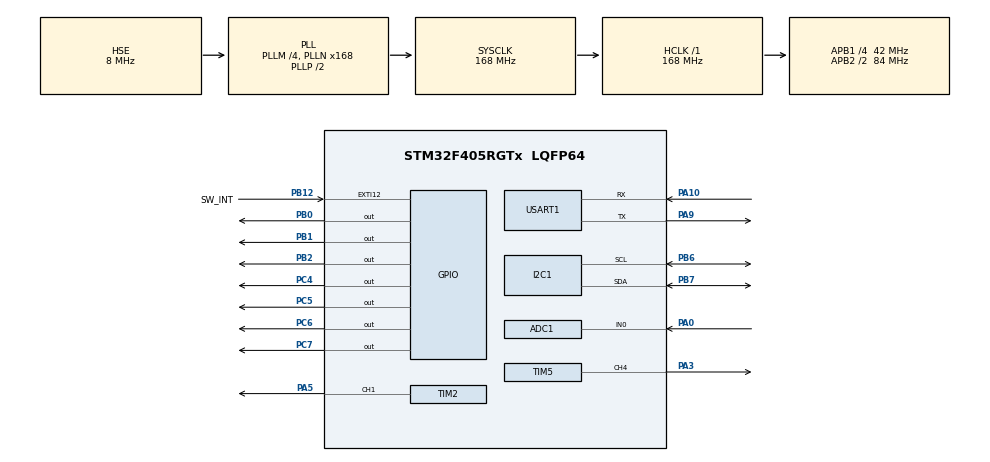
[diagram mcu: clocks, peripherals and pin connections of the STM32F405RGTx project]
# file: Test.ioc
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ADC1.Channel-0\#ChannelRegularConversion=ADC_CHANNEL_0
ADC1.ContinuousConvMode=ENABLE
ADC1.DMAContinuousRequests=ENABLE
ADC1.NbrOfConversionFlag=1
ADC1.Rank-0\#ChannelRegularConversion=1
ADC1.SamplingTime-0\#ChannelRegularConversion=ADC_SAMPLETIME_28CYCLES
ADC1.master=1
Dma.ADC1.0.Direction=DMA_PERIPH_TO_MEMORY
Dma.ADC1.0.FIFOMode=DMA_FIFOMODE_DISABLE
Dma.ADC1.0.Instance=DMA2_Stream0
Dma.ADC1.0.MemDataAlignment=DMA_MDATAALIGN_HALFWORD
Dma.ADC1.0.MemInc=DMA_MINC_ENABLE
Dma.ADC1.0.Mode=DMA_CIRCULAR
Dma.ADC1.0.PeriphDataAlignment=DMA_PDATAALIGN_HALFWORD
Dma.ADC1.0.PeriphInc=DMA_PINC_DISABLE
Dma.ADC1.0.Priority=DMA_PRIORITY_LOW
Dma.Request0=ADC1
Dma.Request1=USART1_TX
Dma.USART1_TX.1.Direction=DMA_MEMORY_TO_PERIPH
Dma.USART1_TX.1.FIFOMode=DMA_FIFOMODE_DISABLE
Dma.USART1_TX.1.Instance=DMA2_Stream7
Dma.USART1_TX.1.MemDataAlignment=DMA_MDATAALIGN_BYTE
Dma.USART1_TX.1.MemInc=DMA_MINC_ENABLE
Dma.USART1_TX.1.Mode=DMA_NORMAL
Dma.USART1_TX.1.PeriphDataAlignment=DMA_PDATAALIGN_BYTE
Dma.USART1_TX.1.PeriphInc=DMA_PINC_DISABLE
Dma.USART1_TX.1.Priority=DMA_PRIORITY_LOW
I2C1.I2C_Mode=I2C_Fast
Mcu.Family=STM32F4
Mcu.Name=STM32F405RGTx
Mcu.Package=LQFP64
NVIC.DMA2_Stream0_IRQn=true\:0\:0\:false\:false\:true\:false\:true
NVIC.DMA2_Stream7_IRQn=true\:0\:0\:false\:false\:true\:false\:true
NVIC.EXTI15_10_IRQn=true\:0\:0\:false\:false\:true\:true\:true
NVIC.PriorityGroup=NVIC_PRIORITYGROUP_4
PA0-WKUP.Signal=ADCx_IN0
PA10.Mode=Asynchronous
PA10.Signal=USART1_RX
PA13.Mode=Serial_Wire
PA13.Signal=SYS_JTMS-SWDIO
PA14.Mode=Serial_Wire
PA14.Signal=SYS_JTCK-SWCLK
PA3.Signal=S_TIM5_CH4
PA5.Signal=S_TIM2_CH1_ETR
PA9.Mode=Asynchronous
PA9.Signal=USART1_TX
PB0.Signal=GPIO_Output
PB1.Signal=GPIO_Output
PB12.GPIO_Label=SW_INT
PB12.Signal=GPXTI12
PB2.Signal=GPIO_Output
PB6.Mode=I2C
PB6.Signal=I2C1_SCL
PB7.Mode=I2C
PB7.Signal=I2C1_SDA
PC4.Signal=GPIO_Output
PC5.Signal=GPIO_Output
PC6.Signal=GPIO_Output
PC7.Signal=GPIO_Output
PH0-OSC_IN.Mode=HSE-External-Oscillator
PH0-OSC_IN.Signal=RCC_OSC_IN
PH1-OSC_OUT.Mode=HSE-External-Oscillator
PH1-OSC_OUT.Signal=RCC_OSC_OUT
ProjectManager.HeapSize=0x200
ProjectManager.StackSize=0x400
ProjectManager.TargetToolchain=EWARM V8.32
RCC.48MHZClocksFreq_Value=84000000
RCC.AHBFreq_Value=168000000
RCC.APB1CLKDivider=RCC_HCLK_DIV4
RCC.APB1Freq_Value=42000000
RCC.APB1TimFreq_Value=84000000
RCC.APB2CLKDivider=RCC_HCLK_DIV2
RCC.APB2Freq_Value=84000000
RCC.APB2TimFreq_Value=168000000
RCC.CortexFreq_Value=168000000
RCC.HCLKFreq_Value=168000000
RCC.HSE_VALUE=8000000
RCC.HSI_VALUE=16000000
RCC.LSE_VALUE=32768
RCC.PLLM=4
RCC.PLLN=168
RCC.PLLSourceVirtual=RCC_PLLSOURCE_HSE
RCC.SYSCLKFreq_VALUE=168000000
RCC.SYSCLKSource=RCC_SYSCLKSOURCE_PLLCLK
RCC.VCOOutputFreq_Value=336000000
SH.ADCx_IN0.0=ADC1_IN0,IN0
SH.S_TIM2_CH1_ETR.0=TIM2_CH1,PWM Generation1 CH1
SH.S_TIM5_CH4.0=TIM5_CH4,PWM Generation4 CH4
TIM2.Channel-PWM\ Generation1\ CH1=TIM_CHANNEL_1
TIM2.Period=100 - 1
TIM2.Prescaler=42 - 1
TIM5.Channel-PWM\ Generation4\ CH4=TIM_CHANNEL_4
USART1.VirtualMode=VM_ASYNC
VP_TIM2_VS_ClockSourceINT.Mode=Internal
VP_TIM5_VS_ClockSourceINT.Mode=Internal
board=custom

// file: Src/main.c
/* USER CODE BEGIN Header */
/**
  ******************************************************************************
  * @file           : main.c
  * @brief          : Main program body
  ******************************************************************************
  * @attention
  *
  * <h2><center>&copy; Copyright (c) 2020 STMicroelectronics.
  * All rights reserved.</center></h2>
  *
  * This software component is licensed by ST under BSD 3-Clause license,
  * the "License"; You may not use this file except in compliance with the
  * License. You may obtain a copy of the License at:
  *                        opensource.org/licenses/BSD-3-Clause
  *
  ******************************************************************************
  */
/*  ARM exam 평가
  Created : 2020-06-25
  Author : 백규현
*/
/* USER CODE END Header */

#include "main.h"
#include "adc.h"
#include "dma.h"
#include "i2c.h"
#include "tim.h"
#include "usart.h"
#include "gpio.h"

/* USER CODE BEGIN Includes */
#include "lcd.h"
#include <stdio.h>
#include <stdlib.h>
#include <stdbool.h>
/* USER CODE END Includes */

/* USER CODE BEGIN PM */
#define SHT2x_ADDR              (0x40 << 1)
#define SHT2x_HOLD_MASTER_T     0xE3
#define SHT2x_HOLD_MASTER_RH    0xE5
#define SHT2x_NOHOLD_MASTER_T   0xF3
#define SHT2x_NOHOLD_MASTER_RH  0xF5
#define SHT2x_WRITE_USER_REG    0xE6
#define SHT2x_READ_USER_REG     0xE7
#define SHT2x_SOFT_RESET        0xFE
#define STR_MAX                 16
/* USER CODE END PM */

/* USER CODE BEGIN PV */
volatile bool enable = false;
uint32_t melodies[] = {523, 587, 659, 698, 783, 880, 987, 1046};
uint8_t rxData;
uint8_t menu[] = "++++ Menu ++++\r\n"\
                 "L : LED\r\n"\
                 "C : CDS (DMA)\r\n"\
                 "0 ~ 7 : PIANO\r\n"\
                 "T : Temp Humidity\r\n"\
                 "Push Button : Stop\r\n";
/* USER CODE END PV */

void SystemClock_Config(void);
/* USER CODE BEGIN PFP */
void Init();
void PrintTempHumi();
void PrintTemp();
void PrintHumi();
void PrintCds();
void PlayPiano();
void LedRun();
void HAL_GPIO_EXTI_Callback(uint16_t GPIO_Pin);
/* USER CODE END PFP */

int main(void)
{

  /* MCU Configuration--------------------------------------------------------*/

  /* Reset of all peripherals, Initializes the Flash interface and the Systick. */
  HAL_Init();

  /* Configure the system clock */
  SystemClock_Config();

  /* Initialize all configured peripherals */
  MX_GPIO_Init();
  MX_DMA_Init();
  MX_ADC1_Init();
  MX_I2C1_Init();
  MX_TIM2_Init();
  MX_USART1_UART_Init();
  MX_TIM5_Init();
  /* USER CODE BEGIN 2 */
  lcdInit();
  Init();
  /* USER CODE END 2 */

  /* Infinite loop */
  /* USER CODE BEGIN WHILE */
  while (1)
  {
    HAL_UART_Receive(&huart1, &rxData, sizeof(rxData), 10);
    if(rxData == 'L' || rxData == 'l')
    {
      LedRun();
    }
    else if(rxData == 'c' || rxData == 'C')
    {
      PrintCds();
    }
    else if('0' <= rxData && rxData <= '7')
    {
      PlayPiano();
    }
    else if(rxData == 'T' || rxData == 't')
    {
      PrintTempHumi();
    }
    /* USER CODE END WHILE */

  }
}

void SystemClock_Config(void)
{
  RCC_OscInitTypeDef RCC_OscInitStruct = {0};
  RCC_ClkInitTypeDef RCC_ClkInitStruct = {0};

  /** Configure the main internal regulator output voltage
  */
  __HAL_RCC_PWR_CLK_ENABLE();
  __HAL_PWR_VOLTAGESCALING_CONFIG(PWR_REGULATOR_VOLTAGE_SCALE1);
  /** Initializes the CPU, AHB and APB busses clocks
  */
  RCC_OscInitStruct.OscillatorType = RCC_OSCILLATORTYPE_HSE;
  RCC_OscInitStruct.HSEState = RCC_HSE_ON;
  RCC_OscInitStruct.PLL.PLLState = RCC_PLL_ON;
  RCC_OscInitStruct.PLL.PLLSource = RCC_PLLSOURCE_HSE;
  RCC_OscInitStruct.PLL.PLLM = 4;
  RCC_OscInitStruct.PLL.PLLN = 168;
  RCC_OscInitStruct.PLL.PLLP = RCC_PLLP_DIV2;
  RCC_OscInitStruct.PLL.PLLQ = 4;
  if (HAL_RCC_OscConfig(&RCC_OscInitStruct) != HAL_OK)
  {
    Error_Handler();
  }
  /** Initializes the CPU, AHB and APB busses clocks
  */
  RCC_ClkInitStruct.ClockType = RCC_CLOCKTYPE_HCLK|RCC_CLOCKTYPE_SYSCLK
                              |RCC_CLOCKTYPE_PCLK1|RCC_CLOCKTYPE_PCLK2;
  RCC_ClkInitStruct.SYSCLKSource = RCC_SYSCLKSOURCE_PLLCLK;
  RCC_ClkInitStruct.AHBCLKDivider = RCC_SYSCLK_DIV1;
  RCC_ClkInitStruct.APB1CLKDivider = RCC_HCLK_DIV4;
  RCC_ClkInitStruct.APB2CLKDivider = RCC_HCLK_DIV2;

  if (HAL_RCC_ClockConfig(&RCC_ClkInitStruct, FLASH_LATENCY_5) != HAL_OK)
  {
    Error_Handler();
  }
}

/* USER CODE BEGIN 4 */
void Init()
{
  enable = false;
  rxData = '\0';
  HAL_UART_Transmit_DMA(&huart1, menu, sizeof(menu));
  TIM2->CCR1 = 0;
  TIM5->CCR4 = 0;
}

void PrintTempHumi()
{
  enable = true;

  while(enable == true)
  {
    PrintTemp();
    PrintHumi();
  }

  lcdClear();
}

void PrintTemp()
{
  char lcdStr[STR_MAX];
  uint8_t i2cData[2];
  uint16_t convData;
  uint8_t i2cMode;
  float temp;

  i2cMode = SHT2x_NOHOLD_MASTER_T;
  HAL_I2C_Master_Transmit(&hi2c1, SHT2x_ADDR, &i2cMode, 1, HAL_TIMEOUT);
  HAL_Delay(100);
  HAL_I2C_Master_Receive(&hi2c1, SHT2x_ADDR, i2cData, 2, HAL_TIMEOUT);

  convData = i2cData[0] << 8 | i2cData[1];
  temp = -46.85 + 172.72 * (convData / 65536.0);

  lcdGotoXY(0, 0);
  sprintf(lcdStr, "TEMP : %4.1f\'C", temp);
  lcdPrint(lcdStr);
}

void PrintHumi()
{
  char lcdStr[STR_MAX];
  uint8_t i2cData[2];
  uint16_t convData;
  uint8_t i2cMode;
  float humi;

  i2cMode = SHT2x_NOHOLD_MASTER_RH;
  HAL_I2C_Master_Transmit(&hi2c1, SHT2x_ADDR, &i2cMode, 1, HAL_TIMEOUT);
  HAL_Delay(100);
  HAL_I2C_Master_Receive(&hi2c1, SHT2x_ADDR, i2cData, 2, HAL_TIMEOUT);

  convData = i2cData[0] << 8 | i2cData[1];
  humi = -6 + 125 * (convData / 65536.0);

  lcdGotoXY(0, 1);
  sprintf(lcdStr, "HUMI : %4.1f%%", humi);
  lcdPrint(lcdStr);

}

void PrintCds()
{
  uint16_t cdsValue;
  char lcdStr[STR_MAX];

  enable = true;
  HAL_ADC_Start_DMA(&hadc1, (uint32_t*)&cdsValue, 1);
  while(enable == true)
  {
    lcdGotoXY(0, 0);
    sprintf(lcdStr, "CDS : %4d", cdsValue);
    lcdPrint(lcdStr);
    HAL_Delay(100);
  }
  lcdClear();
  HAL_ADC_Stop_DMA(&hadc1);
}

void PlayPiano()
{
  uint32_t freq, duty;
  uint8_t oldData = '\0';
  enable = true;
  HAL_TIM_PWM_Start(&htim5, TIM_CHANNEL_4);
  while(enable == true)
  {
    HAL_UART_Receive(&huart1, &rxData, sizeof(rxData), 10);
    if(oldData == rxData)
    {
      continue;
    }

    oldData = rxData;

    if('0' <= rxData && rxData <= '7')
    {
      TIM5->EGR &= ~(0x01);

      freq = 84000000 / melodies[rxData - '0'] - 1;
      duty = freq / 2;

      TIM5->ARR = freq;
      TIM5->CCR4 = duty;

      TIM5->EGR |= (0x01);
    }
    else
    {
      TIM5->CCR4 = 0;
    }
  }
  TIM5->CCR4 = 0;
  HAL_TIM_PWM_Stop(&htim5, TIM_CHANNEL_4);
}

void LedRun()
{
  uint8_t bright = 0;
  uint8_t turn = 0;

  enable = true;
  HAL_TIM_PWM_Start(&htim2, TIM_CHANNEL_1);
  while(enable == true)
  {
    if(turn == 0)
    {
      bright++;
      if(bright > 100 - 1)
      {
        turn = 1;
      }
    }
    else
    {
       bright--;
       if(bright <= 0)
       {
         turn = 0;
       }
    }

    TIM2->CCR1 = bright;
    HAL_Delay(100);
  }
  TIM2->CCR1 = 0;
  HAL_TIM_PWM_Stop(&htim2, TIM_CHANNEL_1);
}

void HAL_GPIO_EXTI_Callback(uint16_t GPIO_Pin)
{
  if(GPIO_Pin == SW_INT_Pin)
  {
    Init();
  }
}
/* USER CODE END 4 */

void Error_Handler(void)
{
}

/************************ (C) COPYRIGHT STMicroelectronics *****END OF FILE****/
